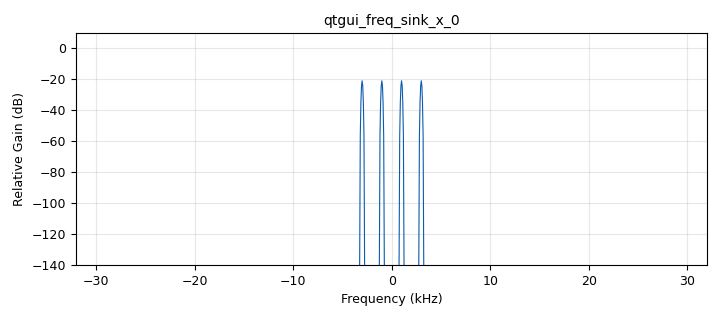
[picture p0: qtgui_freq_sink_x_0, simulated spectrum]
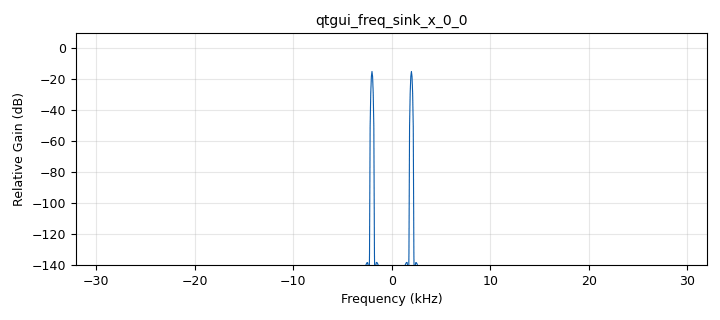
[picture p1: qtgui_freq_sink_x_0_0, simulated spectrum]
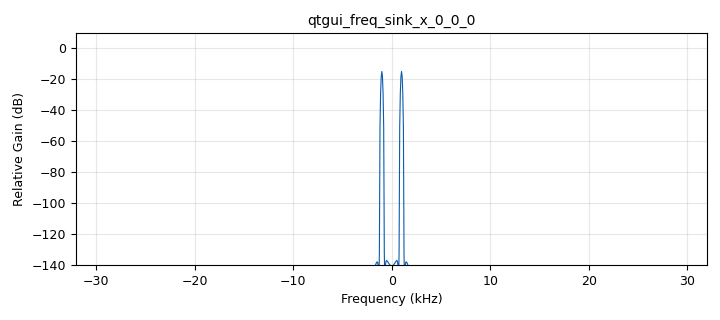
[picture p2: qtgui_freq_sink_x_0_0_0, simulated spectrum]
options:
  parameters:
    generate_options: qt_gui
    id: exercise_2_3
    output_language: python
    title: Exercise 2.3 - Mixing Signals
  states: {}

blocks:
- name: samp_rate
  id: variable
  parameters:
    value: '64000'
  states: {}
- name: variable_freq_a
  id: variable_qtgui_range
  parameters:
    gui_hint: 0,0
    label: Frequency A
    orient: Qt.Horizontal
    start: '1'
    step: '1'
    stop: '10000'
    value: '1000'
  states: {}
- name: variable_freq_b
  id: variable_qtgui_range
  parameters:
    gui_hint: 1,0
    label: Frequency B
    orient: Qt.Horizontal
    start: '1'
    step: '1'
    stop: '10000'
    value: '2000'
  states: {}
- name: analog_sig_source_x_0
  id: analog_sig_source_x
  parameters:
    amp: '1'
    freq: variable_freq_a
    offset: '0'
    phase: '0'
    samp_rate: samp_rate
    type: float
    waveform: analog.GR_COS_WAVE
  states: {}
- name: analog_sig_source_x_1
  id: analog_sig_source_x
  parameters:
    amp: '1'
    freq: variable_freq_b
    offset: '0'
    phase: '0'
    samp_rate: samp_rate
    type: float
    waveform: analog.GR_COS_WAVE
  states: {}
- name: blocks_multiply_xx_0
  id: blocks_multiply_xx
  parameters:
    type: float
  states: {}
- name: blocks_throttle_0
  id: blocks_throttle
  parameters:
    samples_per_second: samp_rate
    type: float
  states: {}
- name: freq_tab
  id: qtgui_tab_widget
  parameters:
    gui_hint: 2,0,4,1
    label0: Mixed
    label1: Freq A
    label2: Freq B
    num_tabs: '3'
  states: {}
- name: qtgui_freq_sink_x_0
  id: qtgui_freq_sink_x
  parameters:
    bw: samp_rate
    fc: '0'
    fftsize: '1024'
    gui_hint: freq_tab@0
    type: float
    wintype: firdes.WIN_BLACKMAN_hARRIS
  states: {}
- name: qtgui_freq_sink_x_0_0
  id: qtgui_freq_sink_x
  parameters:
    bw: samp_rate
    fc: '0'
    fftsize: '1024'
    gui_hint: freq_tab@2
    type: float
    wintype: firdes.WIN_BLACKMAN_hARRIS
  states: {}
- name: qtgui_freq_sink_x_0_0_0
  id: qtgui_freq_sink_x
  parameters:
    bw: samp_rate
    fc: '0'
    fftsize: '1024'
    gui_hint: freq_tab@1
    type: float
    wintype: firdes.WIN_BLACKMAN_hARRIS
  states: {}

connections:
- [analog_sig_source_x_0, '0', blocks_multiply_xx_0, '0']
- [analog_sig_source_x_0, '0', qtgui_freq_sink_x_0_0_0, '0']
- [analog_sig_source_x_1, '0', blocks_multiply_xx_0, '1']
- [analog_sig_source_x_1, '0', qtgui_freq_sink_x_0_0, '0']
- [blocks_multiply_xx_0, '0', blocks_throttle_0, '0']
- [blocks_throttle_0, '0', qtgui_freq_sink_x_0, '0']

metadata:
  file_format: 1
